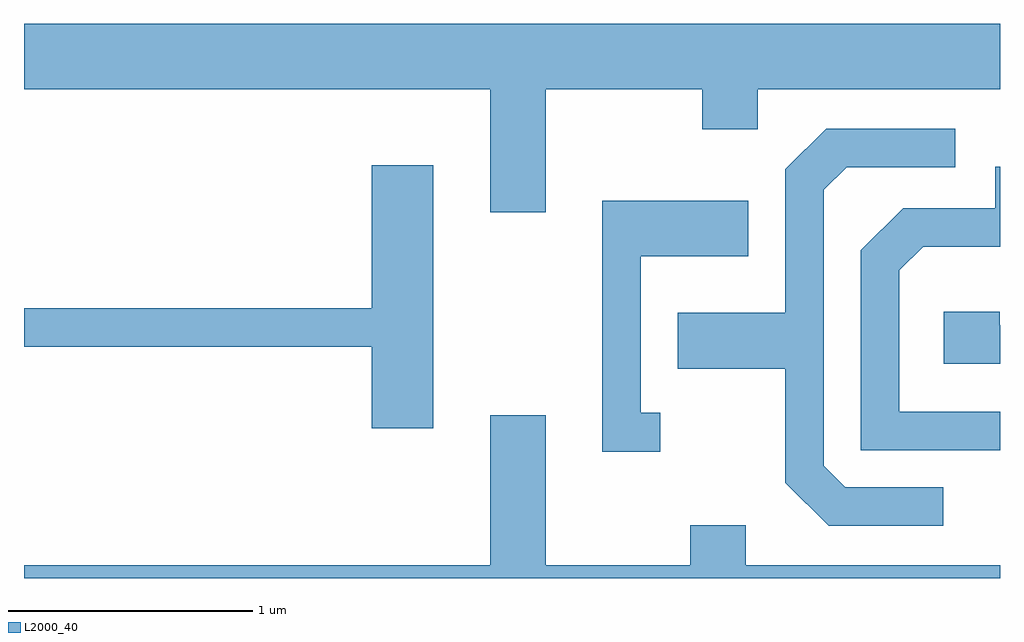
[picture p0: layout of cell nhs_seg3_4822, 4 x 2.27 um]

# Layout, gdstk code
import gdstk
lib = gdstk.Library(unit=1e-6, precision=1e-09)
def P(c, l, *ps):  # polygons
    for p in ps: c.add(gdstk.Polygon(p, *l))
L2000_40 = (2000, 40)

nhs_seg3_4822 = lib.new_cell('nhs_seg3_4822')
P(nhs_seg3_4822, L2000_40, [(327.749,1245.896),(328.391,1245.896),(328.391,1245.731),(328.619,1245.731),(328.619,1245.896),(329.611,1245.896),(329.611,1246.164),(325.611,1246.164),(325.611,1245.896),(327.521,1245.896),(327.521,1245.391),(327.749,1245.391)],
  [(329.378,1244.264),(328.977,1244.264),(328.889,1244.352),(328.889,1245.484),(328.982,1245.576),(329.428,1245.576),(329.428,1245.734),(328.899,1245.734),(328.731,1245.567),(328.731,1244.979),(328.291,1244.979),(328.291,1244.751),(328.731,1244.751),(328.731,1244.284),(328.909,1244.106),(329.378,1244.106)],
  [(327.289,1245.584),(327.036,1245.584),(327.036,1244.999),(325.611,1244.999),(325.611,1244.841),(327.036,1244.841),(327.036,1244.506),(327.289,1244.506)],
  [(329.611,1244.574),(329.199,1244.574),(329.199,1245.154),(329.297,1245.251),(329.611,1245.251),(329.611,1245.579),(329.591,1245.579),(329.591,1245.409),(329.214,1245.409),(329.041,1245.237),(329.041,1244.416),(329.611,1244.416)],
  [(328.218,1244.569),(328.139,1244.569),(328.139,1245.211),(328.579,1245.211),(328.579,1245.439),(327.981,1245.439),(327.981,1244.411),(328.218,1244.411)],
  [(329.611,1244.929),(329.609,1244.929),(329.609,1244.984),(329.381,1244.984),(329.381,1244.771),(329.611,1244.771)],
  [(329.611,1243.944),(328.569,1243.944),(328.569,1244.109),(328.341,1244.109),(328.341,1243.944),(327.749,1243.944),(327.749,1244.559),(327.521,1244.559),(327.521,1243.944),(325.611,1243.944),(325.611,1243.892),(329.611,1243.892)])

lib.write_gds('nhs_seg3_4822.gds')
